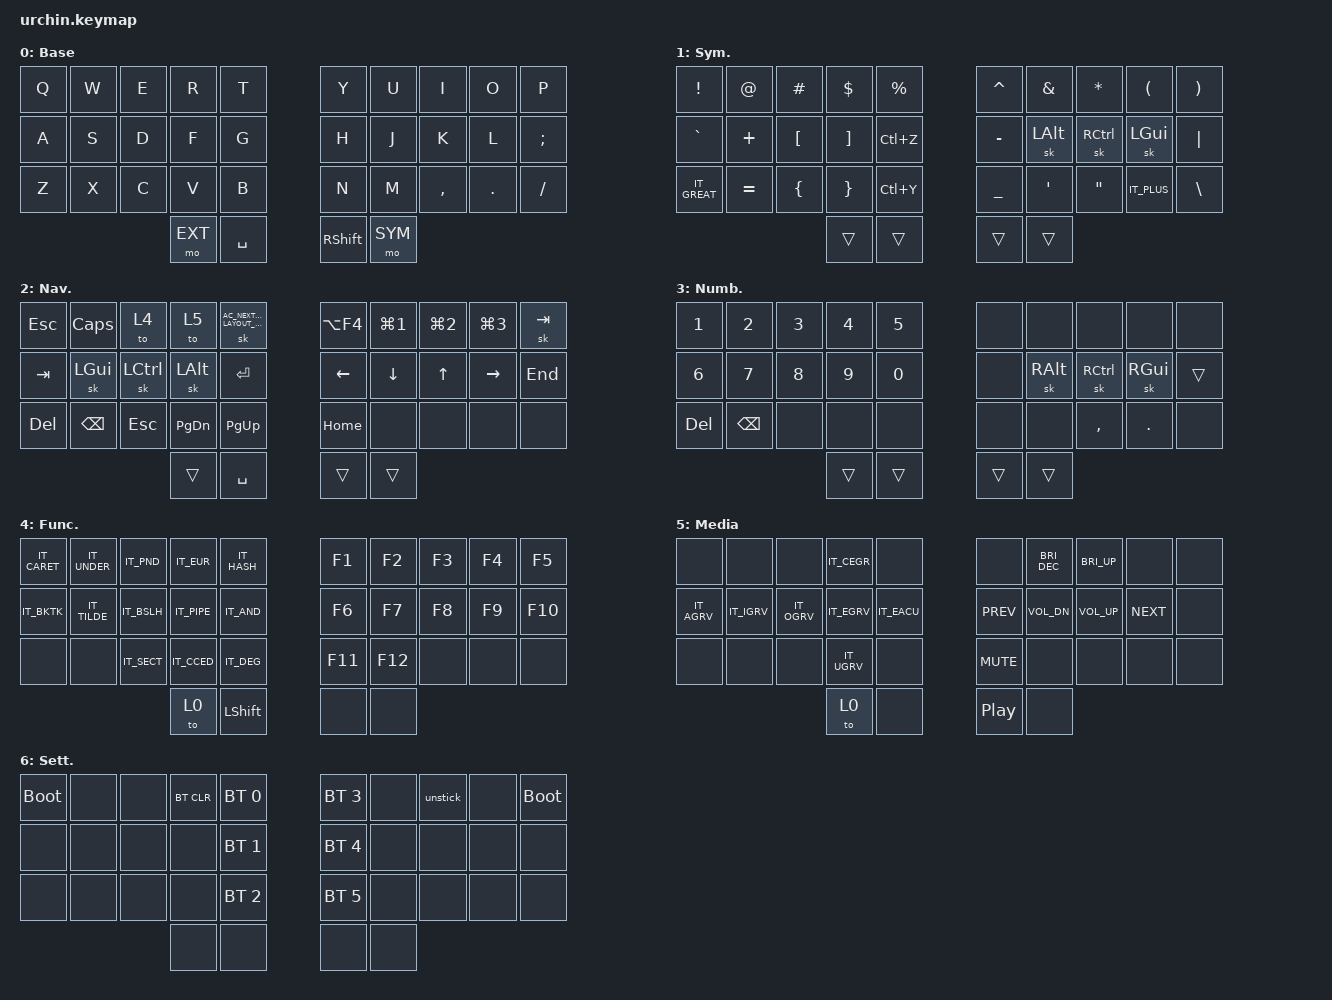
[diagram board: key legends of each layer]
/*
 * Copyright (c) 2020 duckyb
 *
 * SPDX-License-Identifier: MIT
 */

#include "keymap_italian.h"
#include <behaviors.dtsi>
#include <dt-bindings/zmk/bt.h>
#include <dt-bindings/zmk/keys.h>

// Layer definitions

#define BASE 0
#define SYM 1
#define EXT 2
#define FNC 3
#define SYM2 4
#define ACCENT 5
#define SETTINGS 6

// -----------------

&sk {
    // don't release mods on other mods presses

    ignore-modifiers;
};

/ {
    behaviors {
        // Enables holding the first mod-tap key
        // by performing a tap-release-hold sequence.
        // To use it: "&qt KEYCODE1 KEYCODE2"

        qt: quick_tap {
            compatible = "zmk,behavior-hold-tap";
            label = "QUICK_TAP";
            #binding-cells = <2>;
            flavor = "hold-preferred";
            tapping-term-ms = <200>;
            quick-tap-ms = <200>;
            bindings = <&kp>, <&kp>;
        };
    };

    macros {
        // sometimes my device thinks a modifier is being held down
        // pressing all modifiers fixes it.

        unstick: unstick {
            label = "ZM_unstick";
            compatible = "zmk,behavior-macro";
            #binding-cells = <0>;
            bindings = <&kp LSHIFT &kp RSHIFT &kp LCTRL &kp RCTRL &kp LALT &kp RALT &kp LGUI &kp RGUI>;
        };
    };

    combos {
        compatible = "zmk,combos";

        // both right thumb keys
        // internal-left & external-right thumb keys
        // both left thumb keys

        combo_settings {
            timeout-ms = <200>;
            key-positions = <30 31>;
            bindings = <&mo SETTINGS>;
        };

        HYPER {
            bindings = <&kp LS(LA(LG(LEFT_CONTROL)))>;
            key-positions = <32 33>;
        };

        MEH {
            bindings = <&kp LA(LS(LEFT_CONTROL))>;
            key-positions = <31 32>;
        };

        // left index & middle fingers (home-row)
        // hold control & space for Adobe workflow
    };

    keymap {
        compatible = "zmk,keymap";

        // Base alpha layer

        default_layer {
            label = "Base";
            bindings = <
&kp Q  &kp W  &kp E  &kp R    &kp T          &kp Y            &kp U    &kp I      &kp O    &kp P
&kp A  &kp S  &kp D  &kp F    &kp G          &kp H            &kp J    &kp K      &kp L    &kp SEMI
&kp Z  &kp X  &kp C  &kp V    &kp B          &kp N            &kp M    &kp COMMA  &kp DOT  &kp SLASH
                     &mo EXT  &kp SPACE      &kp RIGHT_SHIFT  &mo SYM
            >;
        };

        // Numbers and high frequency symbols

        sym_layer {
            label = "Sym.";
            bindings = <
&kp EXCLAMATION  &kp AT_SIGN  &kp HASH          &kp DOLLAR         &kp PERCENT      &kp CARET       &kp AMPERSAND  &kp ASTERISK       &kp LEFT_PARENTHESIS  &kp RIGHT_PARENTHESIS
&kp GRAVE        &kp PLUS     &kp LEFT_BRACKET  &kp RIGHT_BRACKET  &kp LC(Z)        &kp MINUS       &sk LEFT_ALT   &sk RCTRL          &sk LEFT_GUI          &kp PIPE
&kp IT_GREAT     &kp EQUAL    &kp LEFT_BRACE    &kp RIGHT_BRACE    &kp LC(Y)        &kp UNDERSCORE  &kp SQT        &kp DOUBLE_QUOTES  &kp IT_PLUS           &kp BACKSLASH
                                                &trans             &trans           &trans          &trans
            >;
        };

        // Main modifiers and arrow keys

        NAV_layer {
            label = "Nav.";
            bindings = <
&kp ESC     &kp CAPS       &to 4      &to 5          &sk C_AC_NEXT_KEYBOARD_LAYOUT_SELECT      &kp LA(F4)  &kp LG(NUMBER_1)  &kp LG(NUMBER_2)  &kp LG(NUMBER_3)  &sk TAB
&kp TAB     &sk LGUI       &sk LCTRL  &sk LEFT_ALT   &kp ENTER                                 &kp LEFT    &kp DOWN          &kp UP_ARROW      &kp RIGHT         &kp END
&kp DELETE  &kp BACKSPACE  &kp ESC    &kp PAGE_DOWN  &kp PAGE_UP                               &kp HOME    &none             &none             &none             &none
                                      &trans         &kp SPACE                                 &trans      &trans
            >;
        };

        // Function keys with modifiers

        number_layer {
            label = "Numb.";
            bindings = <
&kp NUMBER_1  &kp NUMBER_2   &kp NUMBER_3  &kp NUMBER_4  &kp N5      &none   &none          &none      &none          &none
&kp NUMBER_6  &kp N7         &kp N8        &kp N9        &kp N0      &none   &sk RIGHT_ALT  &sk RCTRL  &sk RIGHT_GUI  &trans
&kp DELETE    &kp BACKSPACE  &none         &none         &none       &none   &none          &kp COMMA  &kp DOT        &none
                                           &trans        &trans      &trans  &trans
            >;
        };

        // Low frequency symbols.

        funct_layer {
            label = "Func.";
            bindings = <
&kp IT_CARET  &kp IT_UNDER  &kp IT_PND   &kp IT_EUR   &kp IT_HASH         &kp F1   &kp F2   &kp F3  &kp F4  &kp F5
&kp IT_BKTK   &kp IT_TILDE  &kp IT_BSLH  &kp IT_PIPE  &kp IT_AND          &kp F6   &kp F7   &kp F8  &kp F9  &kp F10
&none         &none         &kp IT_SECT  &kp IT_CCED  &kp IT_DEG          &kp F11  &kp F12  &none   &none   &none
                                         &to 0        &kp LEFT_SHIFT      &none    &none
            >;
        };

        // Used to type regional accents.

        media_layer {
            label = "Media";
            bindings = <
&none        &none        &none        &kp IT_CEGR  &none            &none             &kp C_BRI_DEC  &kp C_BRI_UP  &none       &none
&kp IT_AGRV  &kp IT_IGRV  &kp IT_OGRV  &kp IT_EGRV  &kp IT_EACU      &kp C_PREV        &kp C_VOL_DN   &kp C_VOL_UP  &kp C_NEXT  &none
&none        &none        &none        &kp IT_UGRV  &none            &kp C_MUTE        &none          &none         &none       &none
                                       &to 0        &none            &kp C_PLAY_PAUSE  &none
            >;
        };

        // Used to change the keyboard's settings.

        settings_layer {
            label = "Sett.";
            bindings = <
&bootloader  &none  &none  &bt BT_CLR  &bt BT_SEL 0      &bt BT_SEL 3  &none  &unstick  &none  &bootloader
&none        &none  &none  &none       &bt BT_SEL 1      &bt BT_SEL 4  &none  &none     &none  &none
&none        &none  &none  &none       &bt BT_SEL 2      &bt BT_SEL 5  &none  &none     &none  &none
                           &none       &none             &none         &none
            >;
        };
    };

    conditional_layers {
        compatible = "zmk,conditional-layers";

        layer_3 {
            if-layers = <1 2>;
            then-layer = <3>;
        };
    };
};
